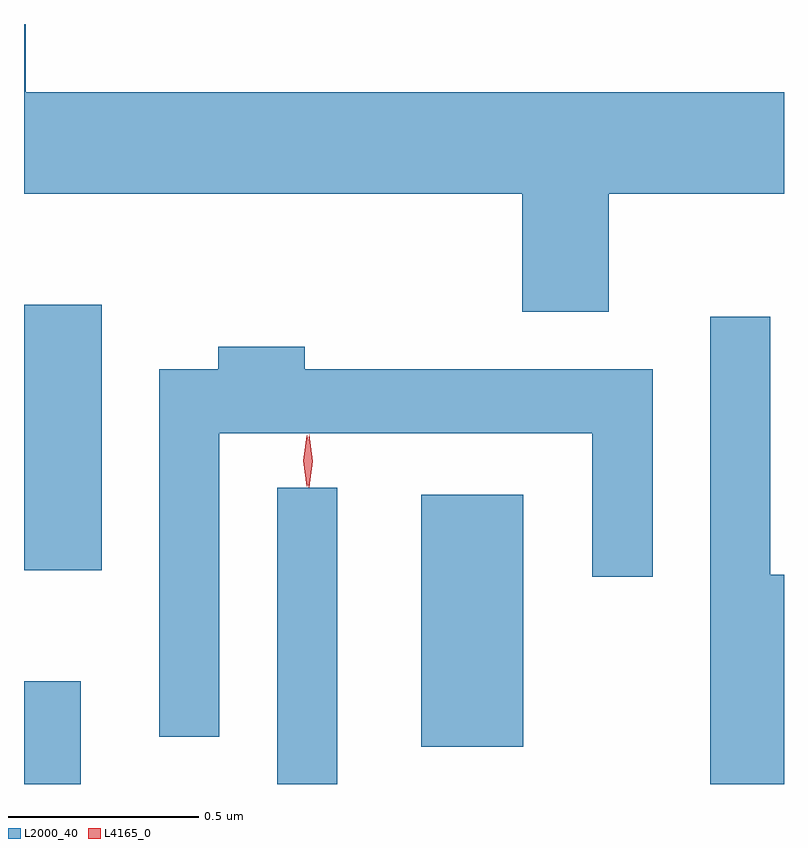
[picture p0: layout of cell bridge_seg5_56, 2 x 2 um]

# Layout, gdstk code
import gdstk
lib = gdstk.Library(unit=1e-6, precision=1e-09)
def R(c, l, rs):  # rectangles x0, y0, x1, y1
    for r in rs: c.add(gdstk.rectangle(r[:2], r[2:], *l))
def P(c, l, *ps):  # polygons
    for p in ps: c.add(gdstk.Polygon(p, *l))
L2000_40 = (2000, 40)
L4165_0 = (4165, 0)

bridge_seg5_56 = lib.new_cell('bridge_seg5_56')
R(bridge_seg5_56, L2000_40, [(1330.5,1475.223,1330.649,1475.494), (1331.166,1475.223,1331.324,1476.003), (1331.546,1475.321,1331.814,1475.984), (1330.5,1475.786,1330.704,1476.484)])
P(bridge_seg5_56, L2000_40, [(1332.039,1476.776),(1332.5,1476.776),(1332.5,1477.044),(1330.504,1477.044),(1330.504,1477.223),(1330.5,1477.223),(1330.5,1476.776),(1331.811,1476.776),(1331.811,1476.466),(1332.039,1476.466)],
  [(1332.5,1475.774),(1332.464,1475.774),(1332.464,1476.453),(1332.306,1476.453),(1332.306,1475.223),(1332.5,1475.223)],
  [(1331.014,1476.146),(1331.996,1476.146),(1331.996,1475.768),(1332.154,1475.768),(1332.154,1476.314),(1331.239,1476.314),(1331.239,1476.374),(1331.011,1476.374),(1331.011,1476.314),(1330.856,1476.314),(1330.856,1475.348),(1331.014,1475.348)])
P(bridge_seg5_56, L4165_0, [(1331.25,1476.003),(1331.249,1476.004),(1331.24,1476.073),(1331.25,1476.142),(1331.25,1476.143),(1331.251,1476.142),(1331.26,1476.073),(1331.25,1476.004)],
  [(1331.244,1476.007),(1331.235,1476.074),(1331.244,1476.14),(1331.245,1476.141),(1331.245,1476.14),(1331.255,1476.074),(1331.245,1476.007),(1331.245,1476.007)])

lib.write_gds('bridge_seg5_56.gds')
